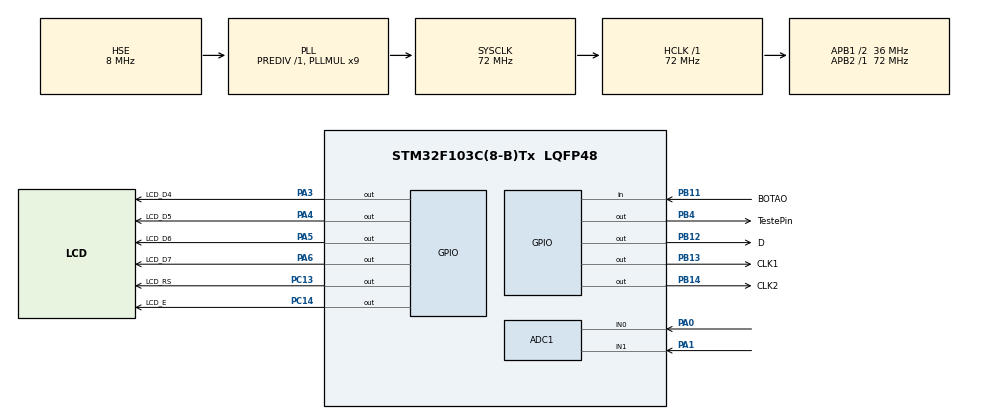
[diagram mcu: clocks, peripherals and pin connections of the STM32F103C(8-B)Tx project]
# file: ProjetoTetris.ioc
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ADC1.Channel-0\#ChannelRegularConversion=ADC_CHANNEL_0
ADC1.NbrOfConversionFlag=1
ADC1.Rank-0\#ChannelRegularConversion=1
ADC1.SamplingTime-0\#ChannelRegularConversion=ADC_SAMPLETIME_13CYCLES_5
ADC1.master=1
Mcu.Family=STM32F1
Mcu.Name=STM32F103C(8-B)Tx
Mcu.Package=LQFP48
NVIC.PriorityGroup=NVIC_PRIORITYGROUP_4
NVIC.TIM2_IRQn=true\:0\:0\:false\:false\:true\:true\:true\:true
PA0-WKUP.Signal=ADCx_IN0
PA1.Signal=ADCx_IN1
PA13.Mode=Serial_Wire
PA13.Signal=SYS_JTMS-SWDIO
PA14.Mode=Serial_Wire
PA14.Signal=SYS_JTCK-SWCLK
PA3.GPIO_Label=LCD_D4
PA3.GPIO_ModeDefaultOutputPP=GPIO_MODE_OUTPUT_PP
PA3.GPIO_PuPd=GPIO_NOPULL
PA3.GPIO_Speed=GPIO_SPEED_FREQ_HIGH
PA3.Signal=GPIO_Output
PA4.GPIO_Label=LCD_D5
PA4.GPIO_ModeDefaultOutputPP=GPIO_MODE_OUTPUT_PP
PA4.GPIO_PuPd=GPIO_NOPULL
PA4.GPIO_Speed=GPIO_SPEED_FREQ_HIGH
PA4.Signal=GPIO_Output
PA5.GPIO_Label=LCD_D6
PA5.GPIO_ModeDefaultOutputPP=GPIO_MODE_OUTPUT_PP
PA5.GPIO_PuPd=GPIO_NOPULL
PA5.GPIO_Speed=GPIO_SPEED_FREQ_HIGH
PA5.Signal=GPIO_Output
PA6.GPIO_Label=LCD_D7
PA6.GPIO_ModeDefaultOutputPP=GPIO_MODE_OUTPUT_PP
PA6.GPIO_PuPd=GPIO_NOPULL
PA6.GPIO_Speed=GPIO_SPEED_FREQ_HIGH
PA6.Signal=GPIO_Output
PB11.GPIO_Label=BOTAO
PB11.Signal=GPIO_Input
PB12.GPIO_Label=D
PB12.Signal=GPIO_Output
PB13.GPIO_Label=CLK1
PB13.Signal=GPIO_Output
PB14.GPIO_Label=CLK2
PB14.Signal=GPIO_Output
PB4.GPIO_Label=TestePin
PB4.GPIO_Speed=GPIO_SPEED_FREQ_HIGH
PB4.Signal=GPIO_Output
PC13-TAMPER-RTC.GPIO_Label=LCD_RS
PC13-TAMPER-RTC.GPIO_ModeDefaultOutputPP=GPIO_MODE_OUTPUT_PP
PC13-TAMPER-RTC.GPIO_PuPd=GPIO_NOPULL
PC13-TAMPER-RTC.GPIO_Speed=GPIO_SPEED_FREQ_HIGH
PC13-TAMPER-RTC.Signal=GPIO_Output
PC14-OSC32_IN.GPIO_Label=LCD_E
PC14-OSC32_IN.GPIO_ModeDefaultOutputPP=GPIO_MODE_OUTPUT_PP
PC14-OSC32_IN.GPIO_PuPd=GPIO_NOPULL
PC14-OSC32_IN.GPIO_Speed=GPIO_SPEED_FREQ_HIGH
PC14-OSC32_IN.Signal=GPIO_Output
PD0-OSC_IN.Mode=HSE-External-Oscillator
PD0-OSC_IN.Signal=RCC_OSC_IN
PD1-OSC_OUT.Mode=HSE-External-Oscillator
PD1-OSC_OUT.Signal=RCC_OSC_OUT
ProjectManager.HeapSize=0x300
ProjectManager.StackSize=0x500
ProjectManager.TargetToolchain=STM32CubeIDE
RCC.ADCPresc=RCC_ADCPCLK2_DIV6
RCC.AHBFreq_Value=72000000
RCC.APB1CLKDivider=RCC_HCLK_DIV2
RCC.APB1Freq_Value=36000000
RCC.APB1TimFreq_Value=72000000
RCC.APB2Freq_Value=72000000
RCC.APB2TimFreq_Value=72000000
RCC.HCLKFreq_Value=72000000
RCC.PLLMUL=RCC_PLL_MUL9
RCC.PLLSourceVirtual=RCC_PLLSOURCE_HSE
RCC.SYSCLKFreq_VALUE=72000000
RCC.SYSCLKSource=RCC_SYSCLKSOURCE_PLLCLK
RCC.USBFreq_Value=48000000
RCC.USBPrescaler=RCC_USBCLKSOURCE_PLL_DIV1_5
SH.ADCx_IN0.0=ADC1_IN0,IN0
SH.ADCx_IN1.0=ADC1_IN1,IN1
TIM2.Period=9
TIM2.Prescaler=7199
VP_TIM2_VS_ClockSourceINT.Mode=Internal
board=custom

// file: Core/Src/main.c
/* USER CODE BEGIN Header */
/**
 ******************************************************************************
 * @file           : main.c
 * @brief          : Main program body
 ******************************************************************************
 * @attention
 *
 * Copyright (c) 2025 STMicroelectronics.
 * All rights reserved.
 *
 * This software is licensed under terms that can be found in the LICENSE file
 * in the root directory of this software component.
 * If no LICENSE file comes with this software, it is provided AS-IS.
 *
 ******************************************************************************
 */
/* USER CODE END Header */
#include "main.h"

ADC_HandleTypeDef hadc1;

TIM_HandleTypeDef htim2;

/* USER CODE BEGIN PV */
uint8_t flag1ms, count100ms, editPosition;
uint16_t count1000ms;

MatrizLED_t MatrizLedA = {
    {0, 0, 0, 0, 0, 0, 0, 0},
    {0, 0, 1, 1, 1, 1, 0, 0},
    {0, 1, 1, 1, 1, 1, 1, 0},
    {1, 1, 1, 0, 0, 1, 1, 1},
    {1, 1, 0, 0, 0, 0, 1, 1},
    {1, 1, 0, 0, 0, 0, 1, 1},
    {0, 0, 0, 0, 0, 1, 1, 1},
    {0, 0, 0, 0, 1, 1, 1, 0},
    {0, 0, 0, 1, 1, 1, 0, 0},
    {0, 0, 0, 1, 1, 0, 0, 0},
    {0, 0, 0, 1, 1, 0, 0, 0},
    {0, 0, 0, 1, 1, 0, 0, 0},
    {0, 0, 0, 0, 0, 0, 0, 0},
    {0, 0, 0, 1, 1, 0, 0, 0},
    {0, 0, 0, 1, 1, 0, 0, 0},
    {0, 0, 0, 0, 0, 0, 0, 0},
};
MatrizLED_t MatrizLedB = {
    {0, 0, 0, 1, 1, 0, 0, 0},
    {0, 0, 1, 1, 1, 1, 0, 0},
    {0, 1, 1, 0, 0, 1, 1, 0},
    {0, 1, 1, 0, 0, 1, 1, 0},
    {1, 1, 1, 1, 1, 1, 1, 1},
    {1, 1, 0, 0, 0, 0, 1, 1},
    {1, 1, 0, 0, 0, 0, 1, 1},
    {1, 1, 0, 0, 0, 0, 1, 1},
    {0, 0, 0, 0, 0, 0, 0, 0},
    {0, 0, 0, 0, 0, 0, 0, 0},
    {0, 0, 0, 0, 0, 0, 0, 0},
    {0, 0, 0, 0, 0, 0, 0, 0},
    {0, 0, 0, 0, 0, 0, 0, 0},
    {0, 0, 0, 0, 0, 0, 0, 0},
    {0, 0, 0, 0, 0, 0, 0, 0},
    {0, 0, 0, 0, 0, 0, 0, 0}};

EstadoMenu estadoMenu = MENU_TELA1;
ModoMenu modoMenu = MODO_NAVEGANDO;

/* USER CODE END PV */

void SystemClock_Config(void);
static void MX_GPIO_Init(void);
static void MX_TIM2_Init(void);
static void MX_ADC1_Init(void);

/* USER CODE BEGIN 0 */

void DWT_Delay_Init(void)
{
    CoreDebug->DEMCR |= CoreDebug_DEMCR_TRCENA_Msk;
    DWT->CYCCNT = 0;
    DWT->CTRL |= DWT_CTRL_CYCCNTENA_Msk;
}

void DWT_Delay_us(uint32_t us)
{
    uint32_t start = DWT->CYCCNT;
    uint32_t ticks = us * (SystemCoreClock / 1000000);
    while ((DWT->CYCCNT - start) < ticks)
        ;
}

void HAL_TIM_PeriodElapsedCallback(TIM_HandleTypeDef *htim)
{
    if (htim->Instance == TIM2)
    {
        flag1ms = TRUE;
        count100ms++;
        count1000ms++;
    }
}

/* USER CODE END 0 */

int main(void)
{

    /* MCU Configuration--------------------------------------------------------*/

    /* Reset of all peripherals, Initializes the Flash interface and the Systick. */
    HAL_Init();

    /* Configure the system clock */
    SystemClock_Config();

    /* Initialize all configured peripherals */
    MX_GPIO_Init();
    MX_TIM2_Init();
    MX_ADC1_Init();
    /* USER CODE BEGIN 2 */
    HAL_TIM_Base_Start_IT(&htim2);
    HAL_ADC_Start(&hadc1);

    initInput(&hadc1);
    DWT_Delay_Init();
    initLCD();

    inicializarEEPROM();

    editPosition = 1;

    changeLCDScreen(TELA1);
    /* USER CODE END 2 */

    /* Infinite loop */
    /* USER CODE BEGIN WHILE */
    while (1)
    {
        if (flag1ms)
        {
            HAL_GPIO_TogglePin(TestePin_GPIO_Port, TestePin_Pin);
            flag1ms = FALSE;
            taskLeituraAD();

            Write_Display();
            lcd_set_cursor(positionXSubMenu3, positionYSubMenu3);
            taskMatrizLed();
            if (gameRunning())
            {
                taskTetris();
            }

            changeMatriz(board);
            HAL_GPIO_TogglePin(TestePin_GPIO_Port, TestePin_Pin);
        }

        if (count100ms >= 100)
        {

            switch (modoMenu)
            {
            case MODO_NAVEGANDO:
                if (getCima())
                {
                    estadoMenu = estadoMenu == MENU_TELA1 ? MENU_TELA4 : estadoMenu - 1;
                    changeLCDScreen(estadoMenu);
                    resetCimaBaixo();
                }
                if (getBaixo())
                {
                    estadoMenu = estadoMenu == MENU_TELA4 ? MENU_TELA1 : estadoMenu + 1;
                    changeLCDScreen(estadoMenu);
                    resetCimaBaixo();
                }

                if (getBotaoEvento())
                {
                    modoMenu = MODO_EXECUTANDO;
                    resetBotaoEvento();

                    switch (estadoMenu)
                    {
                    default:
                    case MENU_TELA1:
                        initGame();
                        changeLCDScreen(SUB_MENU1);
                        break;
                    case MENU_TELA2:
                        updateDataEEPROMLCDMenu2();
                        changeLCDScreen(SUB_MENU2);
                        break;
                    case MENU_TELA3:
                        updateDataEEPROMLCDMenu3();
                        changeLCDScreen(SUB_MENU3);
                        break;
                    case MENU_TELA4:
                        updateDataEEPROMLCDMenu4();
                        changeLCDScreen(SUB_MENU4);
                        break;
                    }
                }
                break;

            case MODO_EXECUTANDO:

                switch (estadoMenu)
                {
                default:
                case SUB_MENU1:
                    if (!gameRunning())
                    {
                        if (getBotaoEvento())
                        {
                            resetBotaoEvento();
                            modoMenu = MODO_NAVEGANDO;
                            changeLCDScreen(MENU_TELA1);
                        }
                    }
                    break;
                case SUB_MENU2:
                    if (getBotaoEvento())
                    {
                        // Sai da subtela e volta para navegação
                        modoMenu = MODO_NAVEGANDO;

                        changeLCDScreen(MENU_TELA2); // volta para o menu atual
                        resetBotaoEvento();
                    }
                    break;
                case SUB_MENU3:
                    changeName();
                    if (getBotaoEvento())
                    {
                        char letraSelecionada;
                        resetBotaoEvento();

                        if (positionYSubMenu3 == 0)
                            letraSelecionada = letrasLinha1[positionXSubMenu3];
                        else
                            letraSelecionada = letrasLinha2[positionXSubMenu3];

                        if (letraSelecionada == '0')
                        {
                            // Sai da subtela e volta para navegação
                            modoMenu = MODO_NAVEGANDO;
                            lcd_cursor_off();
                            changeLCDScreen(MENU_TELA3); // volta para o menu atual

                            memcpy(dados.nomeAtual, nomeDigitado, 3);
                            salvar_na_flash(&dados);
                        }
                        else if (letraSelecionada >= 'A' && letraSelecionada <= 'Z')
                        {
                            inserir_letra_nome(letraSelecionada);
                            atualizar_nome_em_letrasLinha2();
                        }
                    }
                    break;
                case SUB_MENU4:
                    if (getBotaoEvento())
                    {
                        // Sai da subtela e volta para navegação
                        modoMenu = MODO_NAVEGANDO;

                        changeLCDScreen(MENU_TELA4); // volta para o menu atual
                        resetBotaoEvento();
                    }
                    break;
                }
                break;
            }

            count100ms = 0;
            lcd_Task();
        }

        if (count1000ms >= 1000)
        {
            count1000ms = 0;
            //            estadoLCD++;
            //            if (estadoLCD > TELA4)
            //                estadoLCD = TELA1;
            //            changeLCDScreen(estadoLCD);
        }

        /* USER CODE END WHILE */

    }
}

void SystemClock_Config(void)
{
    RCC_OscInitTypeDef RCC_OscInitStruct = {0};
    RCC_ClkInitTypeDef RCC_ClkInitStruct = {0};
    RCC_PeriphCLKInitTypeDef PeriphClkInit = {0};

    /** Initializes the RCC Oscillators according to the specified parameters
     * in the RCC_OscInitTypeDef structure.
     */
    RCC_OscInitStruct.OscillatorType = RCC_OSCILLATORTYPE_HSE;
    RCC_OscInitStruct.HSEState = RCC_HSE_ON;
    RCC_OscInitStruct.HSEPredivValue = RCC_HSE_PREDIV_DIV1;
    RCC_OscInitStruct.HSIState = RCC_HSI_ON;
    RCC_OscInitStruct.PLL.PLLState = RCC_PLL_ON;
    RCC_OscInitStruct.PLL.PLLSource = RCC_PLLSOURCE_HSE;
    RCC_OscInitStruct.PLL.PLLMUL = RCC_PLL_MUL9;
    if (HAL_RCC_OscConfig(&RCC_OscInitStruct) != HAL_OK)
    {
        Error_Handler();
    }

    /** Initializes the CPU, AHB and APB buses clocks
     */
    RCC_ClkInitStruct.ClockType = RCC_CLOCKTYPE_HCLK | RCC_CLOCKTYPE_SYSCLK | RCC_CLOCKTYPE_PCLK1 | RCC_CLOCKTYPE_PCLK2;
    RCC_ClkInitStruct.SYSCLKSource = RCC_SYSCLKSOURCE_PLLCLK;
    RCC_ClkInitStruct.AHBCLKDivider = RCC_SYSCLK_DIV1;
    RCC_ClkInitStruct.APB1CLKDivider = RCC_HCLK_DIV2;
    RCC_ClkInitStruct.APB2CLKDivider = RCC_HCLK_DIV1;

    if (HAL_RCC_ClockConfig(&RCC_ClkInitStruct, FLASH_LATENCY_2) != HAL_OK)
    {
        Error_Handler();
    }
    PeriphClkInit.PeriphClockSelection = RCC_PERIPHCLK_ADC;
    PeriphClkInit.AdcClockSelection = RCC_ADCPCLK2_DIV6;
    if (HAL_RCCEx_PeriphCLKConfig(&PeriphClkInit) != HAL_OK)
    {
        Error_Handler();
    }
}

static void MX_ADC1_Init(void)
{

    ADC_ChannelConfTypeDef sConfig = {0};

    /** Common config
     */
    hadc1.Instance = ADC1;
    hadc1.Init.ScanConvMode = ADC_SCAN_DISABLE;
    hadc1.Init.ContinuousConvMode = DISABLE;
    hadc1.Init.DiscontinuousConvMode = DISABLE;
    hadc1.Init.ExternalTrigConv = ADC_SOFTWARE_START;
    hadc1.Init.DataAlign = ADC_DATAALIGN_RIGHT;
    hadc1.Init.NbrOfConversion = 1;
    if (HAL_ADC_Init(&hadc1) != HAL_OK)
    {
        Error_Handler();
    }

    /** Configure Regular Channel
     */
    sConfig.Channel = ADC_CHANNEL_0;
    sConfig.Rank = ADC_REGULAR_RANK_1;
    sConfig.SamplingTime = ADC_SAMPLETIME_13CYCLES_5;
    if (HAL_ADC_ConfigChannel(&hadc1, &sConfig) != HAL_OK)
    {
        Error_Handler();
    }
}

static void MX_TIM2_Init(void)
{

    TIM_ClockConfigTypeDef sClockSourceConfig = {0};
    TIM_MasterConfigTypeDef sMasterConfig = {0};

    htim2.Instance = TIM2;
    htim2.Init.Prescaler = 7199;
    htim2.Init.CounterMode = TIM_COUNTERMODE_UP;
    htim2.Init.Period = 9;
    htim2.Init.ClockDivision = TIM_CLOCKDIVISION_DIV1;
    htim2.Init.AutoReloadPreload = TIM_AUTORELOAD_PRELOAD_DISABLE;
    if (HAL_TIM_Base_Init(&htim2) != HAL_OK)
    {
        Error_Handler();
    }
    sClockSourceConfig.ClockSource = TIM_CLOCKSOURCE_INTERNAL;
    if (HAL_TIM_ConfigClockSource(&htim2, &sClockSourceConfig) != HAL_OK)
    {
        Error_Handler();
    }
    sMasterConfig.MasterOutputTrigger = TIM_TRGO_RESET;
    sMasterConfig.MasterSlaveMode = TIM_MASTERSLAVEMODE_DISABLE;
    if (HAL_TIMEx_MasterConfigSynchronization(&htim2, &sMasterConfig) != HAL_OK)
    {
        Error_Handler();
    }
}

static void MX_GPIO_Init(void)
{
    GPIO_InitTypeDef GPIO_InitStruct = {0};

    /* GPIO Ports Clock Enable */
    __HAL_RCC_GPIOC_CLK_ENABLE();
    __HAL_RCC_GPIOD_CLK_ENABLE();
    __HAL_RCC_GPIOA_CLK_ENABLE();
    __HAL_RCC_GPIOB_CLK_ENABLE();

    /*Configure GPIO pin Output Level */
    HAL_GPIO_WritePin(GPIOC, LCD_RS_Pin | LCD_E_Pin, GPIO_PIN_RESET);

    /*Configure GPIO pin Output Level */
    HAL_GPIO_WritePin(GPIOA, LCD_D4_Pin | LCD_D5_Pin | LCD_D6_Pin | LCD_D7_Pin, GPIO_PIN_RESET);

    /*Configure GPIO pin Output Level */
    HAL_GPIO_WritePin(GPIOB, D_Pin | CLK1_Pin | CLK2_Pin | TestePin_Pin, GPIO_PIN_RESET);

    /*Configure GPIO pins : LCD_RS_Pin LCD_E_Pin */
    GPIO_InitStruct.Pin = LCD_RS_Pin | LCD_E_Pin;
    GPIO_InitStruct.Mode = GPIO_MODE_OUTPUT_PP;
    GPIO_InitStruct.Pull = GPIO_NOPULL;
    GPIO_InitStruct.Speed = GPIO_SPEED_FREQ_HIGH;
    HAL_GPIO_Init(GPIOC, &GPIO_InitStruct);

    /*Configure GPIO pins : LCD_D4_Pin LCD_D5_Pin LCD_D6_Pin LCD_D7_Pin */
    GPIO_InitStruct.Pin = LCD_D4_Pin | LCD_D5_Pin | LCD_D6_Pin | LCD_D7_Pin;
    GPIO_InitStruct.Mode = GPIO_MODE_OUTPUT_PP;
    GPIO_InitStruct.Pull = GPIO_NOPULL;
    GPIO_InitStruct.Speed = GPIO_SPEED_FREQ_HIGH;
    HAL_GPIO_Init(GPIOA, &GPIO_InitStruct);

    /*Configure GPIO pin : BOTAO_Pin */
    GPIO_InitStruct.Pin = BOTAO_Pin;
    GPIO_InitStruct.Mode = GPIO_MODE_INPUT;
    GPIO_InitStruct.Pull = GPIO_NOPULL;
    HAL_GPIO_Init(BOTAO_GPIO_Port, &GPIO_InitStruct);

    /*Configure GPIO pins : D_Pin CLK1_Pin CLK2_Pin */
    GPIO_InitStruct.Pin = D_Pin | CLK1_Pin | CLK2_Pin;
    GPIO_InitStruct.Mode = GPIO_MODE_OUTPUT_PP;
    GPIO_InitStruct.Pull = GPIO_NOPULL;
    GPIO_InitStruct.Speed = GPIO_SPEED_FREQ_LOW;
    HAL_GPIO_Init(GPIOB, &GPIO_InitStruct);

    /*Configure GPIO pin : TestePin_Pin */
    GPIO_InitStruct.Pin = TestePin_Pin;
    GPIO_InitStruct.Mode = GPIO_MODE_OUTPUT_PP;
    GPIO_InitStruct.Pull = GPIO_NOPULL;
    GPIO_InitStruct.Speed = GPIO_SPEED_FREQ_HIGH;
    HAL_GPIO_Init(TestePin_GPIO_Port, &GPIO_InitStruct);

}

void Error_Handler(void)
{
    __disable_irq();
    while (1)
    {
    }
}
